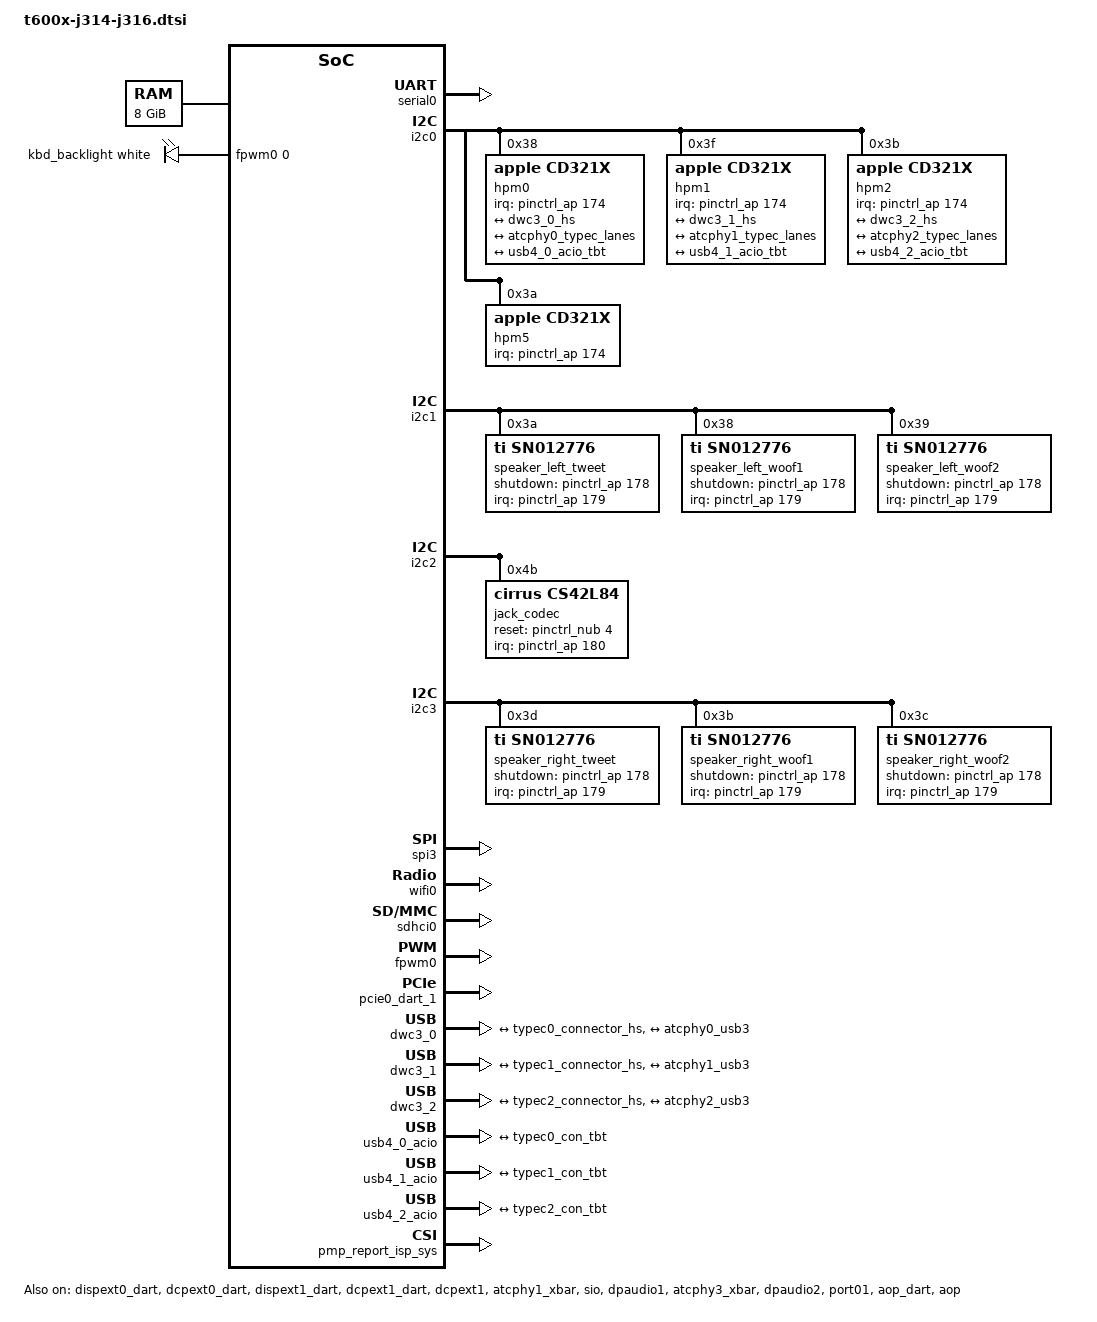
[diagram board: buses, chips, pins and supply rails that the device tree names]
// SPDX-License-Identifier: GPL-2.0+ OR MIT
/*
 * MacBook Pro (14/16-inch, 2021)
 *
 * This file contains the parts common to J314 and J316 devices with both t6000 and t6001.
 *
 * target-type: J314s / J314c / J316s / J316c
 *
 * Copyright The Asahi Linux Contributors
 */

#define ENABLE_DCPEXT_TYPEC

#include <dt-bindings/leds/common.h>

/ {
	chassis-type = "laptop";

	aliases {
		atcphy0 = &atcphy0;
		atcphy1 = &atcphy1;
		atcphy2 = &atcphy2;
		atcphy3 = &atcphy3;
		bluetooth0 = &bluetooth0;
		dcp = &dcp;
		dcpext0 = &dcpext0;
		/*
		 * m1n1 looks the DCPs up by alias (dcpext_aliases[] in its
		 * kboot.c) to fill in apple,firmware-version and
		 * apple,firmware-compat. Without the alias dcpext1 probes with
		 * "Could not read 'apple,firmware-compat': -22". Needed
		 * unconditionally here, not only under ENABLE_DCPEXT_TYPEC.
		 */
		dcpext1 = &dcpext1;
		disp0 = &display;
		disp0_piodma = &disp0_piodma;
		serial0 = &serial0;
		sio = &sio;
		usb4-0-acio = &usb4_0_acio;
		usb4-0-nhi = &usb4_0_nhi;
		usb4-1-acio = &usb4_1_acio;
		usb4-1-nhi = &usb4_1_nhi;
		usb4-2-acio = &usb4_2_acio;
		usb4-2-nhi = &usb4_2_nhi;
		wifi0 = &wifi0;

		usb4_0_rc = &usb4_0_acio;
		usb4_0_nhi = &usb4_0_nhi;
		usb4_1_rc = &usb4_1_acio;
		usb4_1_nhi = &usb4_1_nhi;
		usb4_2_rc = &usb4_2_acio;
		usb4_2_nhi = &usb4_2_nhi;
	};

	chosen {
		#address-cells = <2>;
		#size-cells = <2>;
		ranges;

		stdout-path = "serial0";

		framebuffer0: framebuffer@0 {
			compatible = "apple,simple-framebuffer", "simple-framebuffer";
			reg = <0 0 0 0>; /* To be filled by loader */
			/* Format properties will be added by loader */
			status = "disabled";
			panel = <&panel>;
			post-init-providers = <&panel>;
			power-domains = <&ps_disp0_cpu0>;
		};
	};

	memory@10000000000 {
		device_type = "memory";
		reg = <0x100 0 0x2 0>; /* To be filled by loader */
	};

	led-controller {
		compatible = "pwm-leds";
		led-0 {
			pwms = <&fpwm0 0 40000>;
			label = "kbd_backlight";
			function = LED_FUNCTION_KBD_BACKLIGHT;
			color = <LED_COLOR_ID_WHITE>;
			max-brightness = <255>;
			default-state = "keep";
		};
	};
};

&serial0 {
	status = "okay";
};

&dcp {
	panel: panel {
		apple,max-brightness = <500>;
	};
};

&display {
	/*
	 * 7.1's DART binding takes one cell here, unlike the 7.2 tree this
	 * came from - keep that form and just add the second dispext.
	 */
	iommus = <&disp0_dart 0>, <&dispext0_dart 0>, <&dispext1_dart 0>;
};

&dispext0_dart {
	status = "okay";
};

&dcpext0_dart {
	status = "okay";
};

&dcpext0_mbox {
	status = "okay";
};

&dcpext0 {
	/* enabled by the loader */

	/*
	 * TEST: drive the Studio Display over the Thunderbolt DP tunnel from
	 * dcpext0, mirroring what macOS does. macOS programs crossbar source 0
	 * (= dispext0) into DP IN0; dcpext1/source 1 behaves identically up to
	 * the point where the DPTX firmware gives up, so try the exact macOS
	 * pairing. HDMI is given up for the duration of this test.
	 *
	 * Deliberately no "phys": that would make probe force the Type-C PHY to
	 * DP-only and tear down the Thunderbolt link we tunnel over.
	 */
	apple,connector-type = "DP";

	/*
	 * The tunnel's host DP IN adapter "0:5" is the crossbar's dpin0.
	 * Measured, not assumed: routing to dpin1 instead leaves the link
	 * untrained (no EDID, no modes at all), and the ACIO firmware arms
	 * dpin0 (its MODE reads 5) while dpin1 stays all zeroes.
	 */
	mux-controls = <&atcphy1_xbar 1>;	/* 1 = MUX_DPIN0 */
	mux-control-names = "dp-xbar";
	mux-index = <0>;			/* source = dispext0, like macOS */
	apple,dptx-phy = <1>;
};

/*
 * EXPERIMENT (andywei, 2026-09-28): feed the Thunderbolt host router's
 * DP IN adapter so a DP tunnel can actually be activated.
 *
 * Without a display controller driving DP IN, tb_dp_wait_dprx() never sees
 * DP_COMMON_CAP_DPRX_DONE and the tunnel is torn down:
 *
 *   thunderbolt-apple-nhi b01f00000.nhi: 0:5 <-> 1:10 (DP): not active, tearing down
 *
 * Route dcpext1 through atcphy1's crossbar to MUX_DPIN0 (mux control 1).
 * This mirrors what macOS does, as captured under the m1n1 hypervisor:
 *
 *   CROSSBAR_DISPEXT_EN (0x50) = 0x1
 *   CROSSBAR_MUX_CTRL   (0x60) = 0x0    -> DPIN0_SELECT = source 0
 *   CROSSBAR_ATC_EN     (0x70) = 0x1    -> ATC_DPIN0
 *
 * atcphy1 is the port the Studio Display was attached to (b01ac0000.cio).
 * Static for now; a real implementation has to switch the crossbar
 * dynamically depending on which port the tunnelled display shows up on.
 */
&dispext1_dart {
	status = "okay";
};

&dcpext1_dart {
	status = "okay";
};

&dcpext1_mbox {
	status = "okay";
};

&dcpext1 {
	/*
	 * Tried feeding the display's second DP OUT (1:11) from here via the
	 * crossbar's DPIN1: the display never offers that adapter
	 * ("0:6: no suitable DP OUT adapter available"), it is a single-stream
	 * sink over Thunderbolt, and having a second DCP on the crossbar
	 * stopped dcpext0 from connecting at all. Left plain.
	 */
	status = "okay";
};

&atcphy1_xbar {
	status = "okay";
};

/*
 * EXPERIMENT (andywei, 2026-09-28): feed the Thunderbolt host router's
 * DP IN adapter so a DP tunnel can actually be activated.
 *
 * Without a display controller driving DP IN, tb_dp_wait_dprx() never sees
 * DP_COMMON_CAP_DPRX_DONE and the tunnel is torn down:
 *
 *   thunderbolt-apple-nhi b01f00000.nhi: 0:5 <-> 1:10 (DP): not active, tearing down
 *
 * Route dcpext1 through atcphy1's crossbar to MUX_DPIN0 (mux control 1).
 * This mirrors what macOS does, as captured under the m1n1 hypervisor:
 *
 *   CROSSBAR_DISPEXT_EN (0x50) = 0x1
 *   CROSSBAR_MUX_CTRL   (0x60) = 0x0    -> DPIN0_SELECT = source 0
 *   CROSSBAR_ATC_EN     (0x70) = 0x1    -> ATC_DPIN0
 *
 * atcphy1 is the port the Studio Display was attached to (b01ac0000.cio).
 * Static for now; a real implementation has to switch the crossbar
 * dynamically depending on which port the tunnelled display shows up on.
 */
&dispext1_dart {
	status = "okay";
};

&dcpext1_dart {
	status = "okay";
};

&dcpext1_mbox {
	status = "okay";
};

&dcpext1 {
	status = "okay";

	apple,connector-type = "DP";

	/*
	 * mux control 1 = MUX_DPIN0 (drivers/mux/apple-display-crossbar.c).
	 * mux-index is the dispext source; dcpext1 uses dispext1, so 1.
	 * If this turns out to be wrong, 0 is the other candidate - macOS used
	 * source 0 on the (2-source) t8103 crossbar.
	 */
	mux-controls = <&atcphy1_xbar 1>;
	mux-control-names = "dp-xbar";
	mux-index = <1>;

	/*
	 * Which DP transmitter the DCP firmware should drive. The crossbar
	 * routes that DPTX output to DP IN0; without this it defaults to 0
	 * and the DCP would drive atcphy0's transmitter instead.
	 *
	 * Deliberately no "phys" property: that would make dcp_platform_probe()
	 * take the dcp->phy path and force the Type-C PHY to DP-only, which
	 * tears down the Thunderbolt link we are trying to tunnel over.
	 */
	apple,dptx-phy = <1>;
};

&atcphy1_xbar {
	status = "okay";
};

/* remove once m1n1 enables sio nodes after setup */
&sio {
	status = "okay";
};

&dpaudio1 {
	status = "okay";
};

&atcphy3_xbar {
	status = "okay";
};

&ps_atc3_common {
	apple,always-on; /* Needs to stay on for HDMI resume */
};

/* USB Type C */
&i2c0 {
	hpm0: usb-pd@38 {
		compatible = "apple,cd321x";
		reg = <0x38>;
		interrupt-parent = <&pinctrl_ap>;
		interrupts = <174 IRQ_TYPE_LEVEL_LOW>;
		interrupt-names = "irq";

		typec0: connector {
			compatible = "usb-c-connector";
			label = "USB-C Left Back";
			power-role = "dual";
			data-role = "dual";

			ports {
				#address-cells = <1>;
				#size-cells = <0>;
				port@0 {
					reg = <0>;
					typec0_connector_hs: endpoint {
						remote-endpoint = <&dwc3_0_hs>;
					};
				};
				port@1 {
					reg = <1>;
					typec0_connector_ss: endpoint {
						remote-endpoint = <&atcphy0_typec_lanes>;
					};
				};
			};
		};
	};

	hpm1: usb-pd@3f {
		compatible = "apple,cd321x";
		reg = <0x3f>;
		interrupt-parent = <&pinctrl_ap>;
		interrupts = <174 IRQ_TYPE_LEVEL_LOW>;
		interrupt-names = "irq";

		typec1: connector {
			compatible = "usb-c-connector";
			label = "USB-C Left Front";
			power-role = "dual";
			data-role = "dual";

#ifdef ENABLE_DCPEXT_TYPEC
			/*
			 * dcpext0, not dcpext1: this is the display controller
			 * routed through atcphy1's crossbar to DP IN0 above,
			 * and the one the DP tunnel's host adapter is fed from.
			 * Pointing at dcpext1 makes the out-of-band hotplug
			 * event land on a controller that is not driving this
			 * port, and the DPTX firmware answers it with
			 * DEVICE_NOT_RESPONDING / DEVICE_NOT_STARTED.
			 */
			displayport = <&dcpext0>;
#endif

			ports {
				#address-cells = <1>;
				#size-cells = <0>;
				port@0 {
					reg = <0>;
					typec1_connector_hs: endpoint {
						remote-endpoint = <&dwc3_1_hs>;
					};
				};
				port@1 {
					reg = <1>;
					typec1_connector_ss: endpoint {
						remote-endpoint = <&atcphy1_typec_lanes>;
					};
				};
			};
		};
	};

	hpm2: usb-pd@3b {
		compatible = "apple,cd321x";
		reg = <0x3b>;
		interrupt-parent = <&pinctrl_ap>;
		interrupts = <174 IRQ_TYPE_LEVEL_LOW>;
		interrupt-names = "irq";

		typec2: connector {
			compatible = "usb-c-connector";
			label = "USB-C Right";
			power-role = "dual";
			data-role = "dual";

			ports {
				#address-cells = <1>;
				#size-cells = <0>;
				port@0 {
					reg = <0>;
					typec2_connector_hs: endpoint {
						remote-endpoint = <&dwc3_2_hs>;
					};
				};
				port@1 {
					reg = <1>;
					typec2_connector_ss: endpoint {
						remote-endpoint = <&atcphy2_typec_lanes>;
					};
				};
			};
		};
	};

	/* MagSafe port */
	hpm5: usb-pd@3a {
		compatible = "apple,cd321x";
		reg = <0x3a>;
		interrupt-parent = <&pinctrl_ap>;
		interrupts = <174 IRQ_TYPE_LEVEL_LOW>;
		interrupt-names = "irq";
	};
};

#ifdef ENABLE_DCPEXT_TYPEC

&display {
	iommus = <&disp0_dart 0>, <&dispext0_dart 0>, <&dispext1_dart 0>;
};

&dispext1_dart {
	status = "okay";
};

&dcpext1_dart {
	status = "okay";
};

&dcpext1_mbox {
	status = "okay";
};

&dcpext1 {
	status = "okay";
	apple,connector-type = "DP";

	/* hacks */
	apple,dptx-phy = <1>;
	phys = <&atcphy1 PHY_TYPE_DP>;
	phy-names = "dp-phy";
	mux-controls = <&atcphy1_xbar 0>;
	mux-control-names = "dp-xbar";
	mux-index = <2>;
};

&dpaudio2 {
	status = "okay";
};

&atcphy1_xbar {
        status = "okay";
};

&ps_atc1_common {
	apple,always-on; /* Needs to stay on for DP-alt suspend/resume */
};
#endif

&i2c1 {
	status = "okay";

	speaker_left_tweet: codec@3a {
		compatible = "ti,sn012776", "ti,tas2764";
		reg = <0x3a>;
		shutdown-gpios = <&pinctrl_ap 178 GPIO_ACTIVE_HIGH>;
		#sound-dai-cells = <0>;
		sound-name-prefix = "Left Tweeter";
		interrupts-extended = <&pinctrl_ap 179 IRQ_TYPE_LEVEL_LOW>;
		ti,imon-slot-no = <8>;
		ti,vmon-slot-no = <10>;
	};

	speaker_left_woof1: codec@38 {
		compatible = "ti,sn012776", "ti,tas2764";
		reg = <0x38>;
		shutdown-gpios = <&pinctrl_ap 178 GPIO_ACTIVE_HIGH>;
		#sound-dai-cells = <0>;
		sound-name-prefix = "Left Woofer 1";
		interrupts-extended = <&pinctrl_ap 179 IRQ_TYPE_LEVEL_LOW>;
		ti,imon-slot-no = <0>;
		ti,vmon-slot-no = <2>;
	};

	speaker_left_woof2: codec@39 {
		compatible = "ti,sn012776", "ti,tas2764";
		reg = <0x39>;
		shutdown-gpios = <&pinctrl_ap 178 GPIO_ACTIVE_HIGH>;
		#sound-dai-cells = <0>;
		sound-name-prefix = "Left Woofer 2";
		interrupts-extended = <&pinctrl_ap 179 IRQ_TYPE_LEVEL_LOW>;
		ti,imon-slot-no = <16>;
		ti,vmon-slot-no = <18>;
	};
};

&i2c2 {
	status = "okay";

	jack_codec: codec@4b {
		compatible = "cirrus,cs42l84";
		reg = <0x4b>;
		reset-gpios = <&pinctrl_nub 4 GPIO_ACTIVE_HIGH>;
		#sound-dai-cells = <0>;
		interrupts-extended = <&pinctrl_ap 180 IRQ_TYPE_LEVEL_LOW>;
		sound-name-prefix = "Jack";
	};
};

&i2c3 {
	status = "okay";

	speaker_right_tweet: codec@3d {
		compatible = "ti,sn012776", "ti,tas2764";
		reg = <0x3d>;
		shutdown-gpios = <&pinctrl_ap 178 GPIO_ACTIVE_HIGH>;
		#sound-dai-cells = <0>;
		sound-name-prefix = "Right Tweeter";
		interrupts-extended = <&pinctrl_ap 179 IRQ_TYPE_LEVEL_LOW>;
		ti,imon-slot-no = <12>;
		ti,vmon-slot-no = <14>;
	};

	speaker_right_woof1: codec@3b {
		compatible = "ti,sn012776", "ti,tas2764";
		reg = <0x3b>;
		shutdown-gpios = <&pinctrl_ap 178 GPIO_ACTIVE_HIGH>;
		#sound-dai-cells = <0>;
		sound-name-prefix = "Right Woofer 1";
		interrupts-extended = <&pinctrl_ap 179 IRQ_TYPE_LEVEL_LOW>;
		ti,imon-slot-no = <4>;
		ti,vmon-slot-no = <6>;
	};

	speaker_right_woof2: codec@3c {
		compatible = "ti,sn012776", "ti,tas2764";
		reg = <0x3c>;
		shutdown-gpios = <&pinctrl_ap 178 GPIO_ACTIVE_HIGH>;
		#sound-dai-cells = <0>;
		sound-name-prefix = "Right Woofer 2";
		interrupts-extended = <&pinctrl_ap 179 IRQ_TYPE_LEVEL_LOW>;
		ti,imon-slot-no = <20>;
		ti,vmon-slot-no = <22>;
	};
};

&nco_clkref {
	clock-frequency = <1068000000>;
};

#ifndef NO_SPI_TRACKPAD
&spi3 {
	status = "okay";

	hid-transport@0 {
		compatible = "apple,spi-hid-transport";
		reg = <0>;
		spi-max-frequency = <8000000>;
		/*
		 * Apple's ADT specifies 20us CS change delays, and the
		 * SPI HID interface metadata specifies 45us. Using either
		 * seems not to be reliable, but adding both works, so
		 * best guess is they are cumulative.
		 */
		spi-cs-setup-delay-ns = <65000>;
		spi-cs-hold-delay-ns = <65000>;
		spi-cs-inactive-delay-ns = <250000>;
		spien-gpios = <&pinctrl_ap 194 0>;
		interrupts-extended = <&pinctrl_nub 6 IRQ_TYPE_LEVEL_LOW>;
	};
};
#endif

/* PCIe devices */
&port00 {
	/* WLAN */
	bus-range = <1 1>;
	pwren-gpios = <&smc_gpio 13 GPIO_ACTIVE_HIGH>;
	wifi0: wifi@0,0 {
		compatible = "pci14e4,4433";
		reg = <0x10000 0x0 0x0 0x0 0x0>;
		/* To be filled by the loader */
		local-mac-address = [00 10 18 00 00 10];
		apple,antenna-sku = "XX";
	};

	bluetooth0: bluetooth@0,1 {
		compatible = "pci14e4,5f71";
		reg = <0x10100 0x0 0x0 0x0 0x0>;
		/* To be filled by the loader */
		local-bd-address = [00 00 00 00 00 00];
	};
};

&port01 {
	/* SD card reader */
	bus-range = <2 2>;
	pwren-gpios = <&smc_gpio 26 GPIO_ACTIVE_HIGH>;
	status = "okay";
	sdhci0: mmc@0,0 {
		compatible = "pci17a0,9755";
		reg = <0x20000 0x0 0x0 0x0 0x0>;
		cd-inverted;
		wp-inverted;
	};
};

&fpwm0 {
	status = "okay";
};

&pcie0_dart_1 {
	status = "okay";
};

/* USB controllers */
&dwc3_0 {
	ports {
		#address-cells = <1>;
		#size-cells = <0>;

		port@0 {
			reg = <0>;
			dwc3_0_hs: endpoint {
				remote-endpoint = <&typec0_connector_hs>;
			};
		};

		port@1 {
			reg = <1>;
			dwc3_0_ss: endpoint {
				remote-endpoint = <&atcphy0_usb3>;
			};
		};
	};
};

&dwc3_1 {
	ports {
		#address-cells = <1>;
		#size-cells = <0>;

		port@0 {
			reg = <0>;
			dwc3_1_hs: endpoint {
				remote-endpoint = <&typec1_connector_hs>;
			};
		};

		port@1 {
			reg = <1>;
			dwc3_1_ss: endpoint {
				remote-endpoint = <&atcphy1_usb3>;
			};
		};
	};
};

&dwc3_2 {
	ports {
		#address-cells = <1>;
		#size-cells = <0>;

		port@0 {
			reg = <0>;
			dwc3_2_hs: endpoint {
				remote-endpoint = <&typec2_connector_hs>;
			};
		};

		port@1 {
			reg = <1>;
			dwc3_2_ss: endpoint {
				remote-endpoint = <&atcphy2_usb3>;
			};
		};
	};
};

/*
 * ps_atc3_usb_aon power-domain is always-on to keep dwc3 working over suspend.
 * atc3 is used exclusively for the DP-to-HDMI so do not keep this always on.
 * On t600x it is required to keep atc DP state over suspend.
 */
// &ps_atc3_usb_aon {
// 	/delete-property/ apple,always-on;
// };

/* ATC3 is used for DisplayPort -> HDMI only */
&dwc3_3_dart_0 {
	status = "disabled";
};

&dwc3_3_dart_1 {
	status = "disabled";
};

&dwc3_3 {
	status = "disabled";
};

/* Delete unused dwc3_3 to prevent dt_disable_missing_devs() from disabling
 * atcphy3 via phandle references from a disablecd device.
 */
/delete-node/ &dwc3_3;

/* Type-C PHYs */
&atcphy0 {
	ports {
		#address-cells = <1>;
		#size-cells = <0>;

		port@0 {
			reg = <0>;
			atcphy0_typec_lanes: endpoint {
				remote-endpoint = <&typec0_connector_ss>;
			};
		};

		port@1 {
			reg = <1>;
			atcphy0_usb3: endpoint {
				remote-endpoint = <&dwc3_0_ss>;
			};
		};
	};
};

&atcphy1 {
	ports {
		#address-cells = <1>;
		#size-cells = <0>;

		port@0 {
			reg = <0>;
			atcphy1_typec_lanes: endpoint {
				remote-endpoint = <&typec1_connector_ss>;
			};
		};

		port@1 {
			reg = <1>;
			atcphy1_usb3: endpoint {
				remote-endpoint = <&dwc3_1_ss>;
			};
		};
	};
};

&atcphy2 {
	ports {
		#address-cells = <1>;
		#size-cells = <0>;

		port@0 {
			reg = <0>;
			atcphy2_typec_lanes: endpoint {
				remote-endpoint = <&typec2_connector_ss>;
			};
		};

		port@1 {
			reg = <1>;
			atcphy2_usb3: endpoint {
				remote-endpoint = <&dwc3_2_ss>;
			};
		};
	};
};

/* TEST: atcphy3 DP endpoint removed along with the HDMI config above. */

&aop_mbox {
       status = "okay";
};

&aop_dart {
       status = "okay";
};

&aop_admac {
       status = "okay";
};

&aop {
       status = "okay";
};

/ {
	sound: sound {
		/* compatible is set per machine */

		dai-link@0 {
			link-name = "Speakers";
			dai-tdm-idle-mode-0 = "zero";
			dai-tdm-idle-mode-3 = "zero";
			dai-tdm-slot-tx-idle-mask-0 = <0xf0f0f0>;
			dai-tdm-slot-tx-idle-mask-3 = <0x0f0f0f>;

			cpu {
				sound-dai = <&mca 0>, <&mca 1>;
			};
			codec {
				sound-dai = <&speaker_left_woof1>,
					    <&speaker_left_tweet>,
					    <&speaker_left_woof2>,
					    <&speaker_right_woof1>,
					    <&speaker_right_tweet>,
					    <&speaker_right_woof2>;
			};
		};

		dai-link@1 {
			link-name = "Headphone Jack";

			cpu {
				sound-dai = <&mca 2>;
			};
			codec {
				sound-dai = <&jack_codec>;
			};
		};
	};
};

&typec0 {
	ports {
		port@2 {
			reg = <2>;
			typec0_con_tbt: endpoint {
				remote-endpoint = <&usb4_0_acio_tbt>;
			};
		};
	};
};

&typec1 {
	ports {
		port@2 {
			reg = <2>;
			typec1_con_tbt: endpoint {
				remote-endpoint = <&usb4_1_acio_tbt>;
			};
		};
	};
};

&typec2 {
	ports {
		port@2 {
			reg = <2>;
			typec2_con_tbt: endpoint {
				remote-endpoint = <&usb4_2_acio_tbt>;
			};
		};
	};
};

/* USB4 */
&usb4_0_acio {
	ports {
		#address-cells = <1>;
		#size-cells = <0>;

		/* 1: USB4 port */
		port@1 {
			reg = <1>;
			usb4_0_acio_tbt: endpoint {
				remote-endpoint = <&typec0_con_tbt>;
			};
		};

		/* 2: unused(?) USB4 port */
		/* 3: PCIe */
		/* 4: USB3 */
		/* 5: DP0 */
		/* 6: DP1 */
	};
};

&usb4_1_acio {
	ports {
		#address-cells = <1>;
		#size-cells = <0>;

		/* 1: USB4 port */
		port@1 {
			reg = <1>;
			usb4_1_acio_tbt: endpoint {
				remote-endpoint = <&typec1_con_tbt>;
			};
		};

		/* 2: unused(?) USB4 port */
		/* 3: PCIe */
		/* 4: USB3 */
		/* 5: DP0 */
		/* 6: DP1 */
	};
};

&usb4_2_acio {
	ports {
		#address-cells = <1>;
		#size-cells = <0>;

		/* 1: USB4 port */
		port@1 {
			reg = <1>;
			usb4_2_acio_tbt: endpoint {
				remote-endpoint = <&typec2_con_tbt>;
			};
		};

		/* 2: unused(?) USB4 port */
		/* 3: PCIe */
		/* 4: USB3 */
		/* 5: DP0 */
		/* 6: DP1 */
	};
};

/* ATC3 is used for DP-to-HDMI only and has no USB4 host router */
/delete-node/ &usb4_3_acio;
/delete-node/ &usb4_3_mbox;

#include "spi1-nvram.dtsi"

#include "isp-imx558.dtsi"

&isp {
	apple,platform-id = <3>;
};

&pmp_report_isp_sys {
	status = "okay";
};

#include "hwmon-common.dtsi"
#include "hwmon-fan-dual.dtsi"
#include "hwmon-laptop.dtsi"
